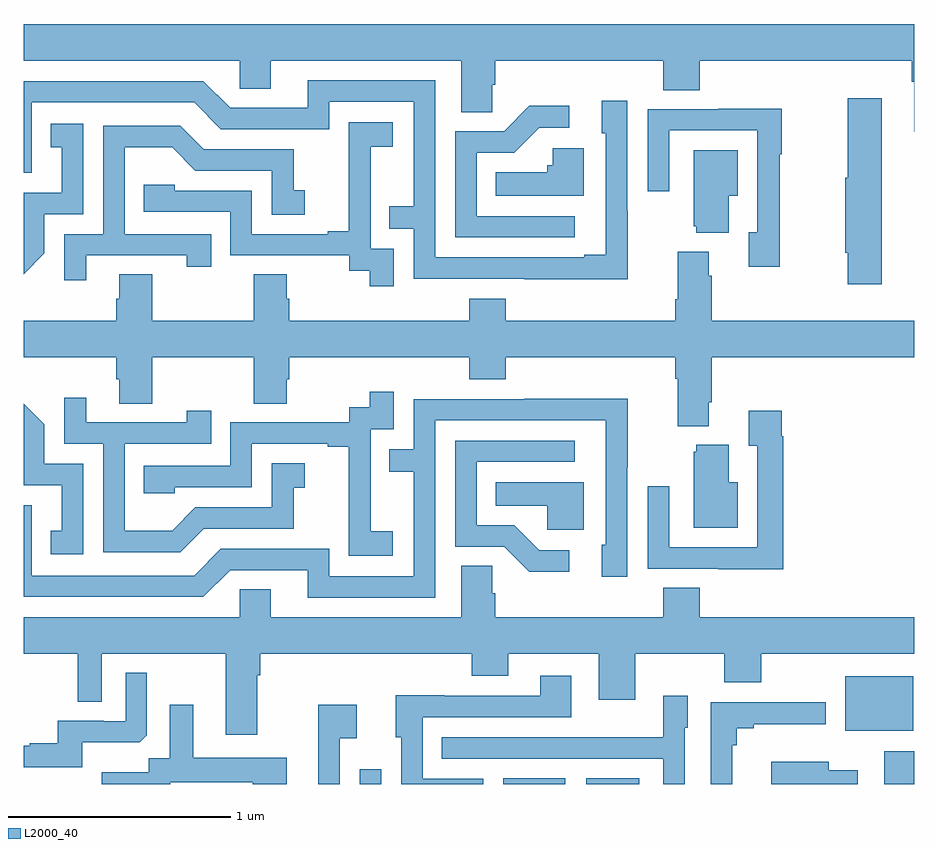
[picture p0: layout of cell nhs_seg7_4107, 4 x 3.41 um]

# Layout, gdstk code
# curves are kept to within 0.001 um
import gdstk
lib = gdstk.Library(unit=1e-6, precision=1e-09)
def R(c, l, rs):  # rectangles x0, y0, x1, y1
    for r in rs: c.add(gdstk.rectangle(r[:2], r[2:], *l))
def P(c, l, *ps):  # polygons
    for p in ps: c.add(gdstk.Polygon(p, *l))
L2000_40 = (2000, 40)

nhs_seg7_4107 = lib.new_cell('nhs_seg7_4107')
R(nhs_seg7_4107, L2000_40, [(372.51,1032,372.606,1032.067), (373.154,1032,373.432,1032.025), (373.526,1032,373.765,1032.025), (374.865,1032,375,1032.148), (374.69,1032.239,374.995,1032.484)])
P(nhs_seg7_4107, L2000_40, [(375,1035.412),(371,1035.412),(371,1035.248),(371.97,1035.248),(371.97,1035.121),(372.109,1035.121),(372.109,1035.248),(372.965,1035.248),(372.965,1035.016),(373.104,1035.016),(373.104,1035.139),(373.118,1035.139),(373.118,1035.248),(373.871,1035.248),(373.871,1035.115),(374.036,1035.115),(374.036,1035.248),(374.987,1035.248),(374.987,1035.152),(374.999,1035.152),(374.999,1034.928),(375,1034.928)],
  [(373.713,1034.573),(373.71,1034.573),(373.71,1035.067),(373.595,1035.067),(373.595,1034.922),(373.614,1034.922),(373.614,1034.377),(373.517,1034.377),(373.517,1034.364),(372.849,1034.364),(372.849,1035.159),(372.275,1035.159),(372.275,1035.036),(371.928,1035.036),(371.808,1035.156),(371,1035.156),(371,1034.745),(371.037,1034.745),(371.037,1035.06),(371.766,1035.06),(371.886,1034.94),(372.372,1034.94),(372.372,1035.063),(372.753,1035.063),(372.753,1034.594),(372.643,1034.594),(372.643,1034.493),(372.753,1034.493),(372.753,1034.268),(373.713,1034.267)],
  [(374.854,1035.079),(374.701,1035.079),(374.701,1034.721),(374.69,1034.721),(374.69,1034.385),(374.701,1034.385),(374.701,1034.244),(374.854,1034.244)],
  [(373.474,1034.55),(373.035,1034.55),(373.035,1034.835),(373.204,1034.835),(373.315,1034.946),(373.45,1034.946),(373.45,1035.044),(373.271,1035.044),(373.158,1034.931),(372.939,1034.931),(372.939,1034.454),(373.474,1034.454)],
  [(374.396,1034.827),(374.404,1034.827),(374.404,1035.032),(374.119,1035.032),(374.119,1035.03),(373.803,1035.03),(373.803,1034.661),(373.899,1034.661),(373.899,1034.934),(374.295,1034.934),(374.295,1034.478),(374.255,1034.478),(374.255,1034.322),(374.396,1034.322)],
  [(372.663,1034.403),(372.558,1034.403),(372.558,1034.632),(372.56,1034.632),(372.56,1034.861),(372.658,1034.861),(372.658,1034.971),(372.46,1034.971),(372.46,1034.765),(372.461,1034.765),(372.461,1034.482),(372.365,1034.482),(372.365,1034.469),(372.024,1034.469),(372.024,1034.664),(371.679,1034.664),(371.679,1034.691),(371.539,1034.691),(371.539,1034.568),(371.928,1034.568),(371.928,1034.373),(372.462,1034.373),(372.462,1034.305),(372.555,1034.305),(372.555,1034.235),(372.663,1034.235)],
  [(371.094,1034.382),(371.094,1034.559),(371.268,1034.559),(371.268,1034.965),(371.122,1034.965),(371.122,1034.859),(371.171,1034.859),(371.171,1034.655),(371,1034.655),(371,1034.289)],
  [(371.281,1034.373),(371.732,1034.373),(371.732,1034.322),(371.843,1034.322),(371.843,1034.469),(371.454,1034.469),(371.454,1034.858),(371.668,1034.858),(371.772,1034.754),(372.114,1034.754),(372.114,1034.555),(372.262,1034.555),(372.262,1034.665),(372.213,1034.665),(372.213,1034.85),(371.809,1034.85),(371.704,1034.955),(371.358,1034.955),(371.358,1034.469),(371.184,1034.469),(371.184,1034.262),(371.281,1034.262)],
  [(373.516,1034.854),(373.377,1034.854),(373.377,1034.778),(373.351,1034.778),(373.351,1034.746),(373.12,1034.746),(373.12,1034.642),(373.516,1034.642)],
  [(374.167,1034.642),(374.206,1034.642),(374.206,1034.845),(374.009,1034.845),(374.009,1034.505),(374.021,1034.505),(374.021,1034.474),(374.167,1034.474)],
  [(374.077,1033.714),(374.09,1033.714),(374.09,1033.916),(375,1033.916),(375,1034.08),(374.09,1034.08),(374.09,1034.282),(374.077,1034.282),(374.077,1034.389),(373.937,1034.389),(373.937,1034.176),(373.925,1034.176),(373.925,1034.08),(373.166,1034.08),(373.166,1034.179),(373.001,1034.179),(373.001,1034.08),(372.194,1034.08),(372.194,1034.178),(372.181,1034.178),(372.181,1034.288),(372.034,1034.288),(372.034,1034.08),(371.577,1034.08),(371.577,1034.288),(371.429,1034.288),(371.429,1034.178),(371.417,1034.178),(371.417,1034.08),(371,1034.08),(371,1033.916),(371.417,1033.916),(371.417,1033.818),(371.429,1033.818),(371.429,1033.708),(371.577,1033.708),(371.577,1033.916),(372.034,1033.916),(372.034,1033.708),(372.181,1033.708),(372.181,1033.818),(372.194,1033.818),(372.194,1033.916),(373.001,1033.916),(373.001,1033.817),(373.166,1033.817),(373.166,1033.916),(373.925,1033.916),(373.925,1033.82),(373.937,1033.82),(373.937,1033.607),(374.077,1033.607)],
  [(372.658,1033.135),(372.56,1033.135),(372.56,1033.364),(372.558,1033.364),(372.558,1033.593),(372.663,1033.593),(372.663,1033.762),(372.555,1033.762),(372.555,1033.692),(372.462,1033.692),(372.462,1033.623),(371.928,1033.623),(371.928,1033.428),(371.539,1033.428),(371.539,1033.305),(371.679,1033.305),(371.679,1033.332),(372.024,1033.332),(372.024,1033.527),(372.365,1033.527),(372.365,1033.515),(372.461,1033.515),(372.461,1033.231),(372.46,1033.231),(372.46,1033.025),(372.658,1033.025)],
  [(371.809,1033.146),(372.213,1033.146),(372.213,1033.331),(372.262,1033.331),(372.262,1033.441),(372.114,1033.441),(372.114,1033.242),(371.772,1033.242),(371.668,1033.138),(371.454,1033.138),(371.454,1033.527),(371.843,1033.527),(371.843,1033.675),(371.732,1033.675),(371.732,1033.623),(371.281,1033.623),(371.281,1033.735),(371.184,1033.735),(371.184,1033.527),(371.358,1033.527),(371.358,1033.041),(371.704,1033.041)],
  [(372.849,1033.632),(373.613,1033.632),(373.614,1033.074),(373.595,1033.074),(373.595,1032.93),(373.71,1032.93),(373.71,1033.423),(373.713,1033.423),(373.713,1033.73),(373.249,1033.73),(373.249,1033.728),(372.753,1033.728),(372.753,1033.503),(372.643,1033.503),(372.643,1033.402),(372.753,1033.402),(372.753,1032.933),(372.372,1032.933),(372.372,1033.056),(371.886,1033.056),(371.766,1032.936),(371.037,1032.936),(371.037,1033.251),(371,1033.251),(371,1032.84),(371.808,1032.84),(371.928,1032.96),(372.275,1032.96),(372.275,1032.837),(372.849,1032.837)],
  [(371.268,1033.437),(371.094,1033.437),(371.094,1033.614),(371,1033.708),(371,1033.341),(371.171,1033.341),(371.171,1033.137),(371.122,1033.137),(371.122,1033.032),(371.268,1033.032)],
  [(374.411,1033.562),(374.404,1033.562),(374.404,1033.675),(374.255,1033.675),(374.255,1033.519),(374.295,1033.519),(374.295,1033.062),(373.899,1033.062),(373.899,1033.336),(373.803,1033.336),(373.803,1032.966),(374.119,1032.966),(374.119,1032.965),(374.411,1032.965)],
  [(373.45,1033.05),(373.315,1033.05),(373.204,1033.161),(373.035,1033.161),(373.035,1033.446),(373.474,1033.446),(373.474,1033.542),(372.939,1033.542),(372.939,1033.065),(373.158,1033.065),(373.271,1032.953),(373.45,1032.953)],
  [(374.206,1033.354),(374.167,1033.354),(374.167,1033.522),(374.021,1033.522),(374.021,1033.491),(374.009,1033.491),(374.009,1033.151),(374.206,1033.151)],
  [(373.516,1033.354),(373.12,1033.354),(373.12,1033.25),(373.351,1033.25),(373.351,1033.142),(373.516,1033.142)],
  [(372.049,1032.488),(372.062,1032.488),(372.062,1032.584),(373.013,1032.584),(373.013,1032.485),(373.177,1032.485),(373.177,1032.584),(373.583,1032.584),(373.583,1032.378),(373.747,1032.378),(373.747,1032.584),(374.147,1032.584),(374.147,1032.456),(374.311,1032.456),(374.311,1032.584),(375,1032.584),(375,1032.748),(374.036,1032.748),(374.036,1032.881),(373.871,1032.881),(373.871,1032.748),(373.118,1032.748),(373.118,1032.857),(373.104,1032.857),(373.104,1032.98),(372.965,1032.98),(372.965,1032.748),(372.109,1032.748),(372.109,1032.875),(371.97,1032.875),(371.97,1032.748),(371,1032.748),(371,1032.584),(371.244,1032.584),(371.244,1032.37),(371.352,1032.37),(371.352,1032.584),(371.909,1032.584),(371.909,1032.222),(372.049,1032.222)],
  [(371.263,1032.188),(371.521,1032.188),(371.553,1032.219),(371.553,1032.499),(371.46,1032.499),(371.46,1032.282),(371.36,1032.282),(371.36,1032.285),(371.153,1032.285),(371.153,1032.184),(371.029,1032.184),(371.029,1032.172),(371,1032.172),(371,1032.075),(371.263,1032.075)],
  [(373.065,1032.024),(372.792,1032.024),(372.792,1032.3),(373.459,1032.3),(373.459,1032.487),(373.319,1032.487),(373.319,1032.396),(372.889,1032.396),(372.889,1032.398),(372.671,1032.398),(372.671,1032.21),(372.696,1032.21),(372.696,1032),(373.065,1032)],
  [(373.968,1032.252),(373.981,1032.252),(373.981,1032.397),(373.872,1032.397),(373.872,1032.211),(373.555,1032.211),(373.555,1032.21),(372.877,1032.21),(372.877,1032.114),(373.872,1032.114),(373.872,1032),(373.968,1032)],
  [(374.182,1032.173),(374.201,1032.173),(374.201,1032.25),(374.278,1032.25),(374.278,1032.269),(374.602,1032.269),(374.602,1032.366),(374.085,1032.366),(374.085,1032),(374.182,1032)],
  [(371.658,1032.008),(372.029,1032.008),(372.029,1032),(372.181,1032),(372.181,1032.118),(371.761,1032.118),(371.761,1032.355),(371.657,1032.355),(371.657,1032.116),(371.562,1032.116),(371.562,1032.052),(371.351,1032.052),(371.351,1032),(371.658,1032)],
  [(372.42,1032.206),(372.496,1032.206),(372.496,1032.355),(372.323,1032.355),(372.323,1032),(372.42,1032)],
  [(374.746,1032.061),(374.614,1032.061),(374.614,1032.1),(374.357,1032.1),(374.357,1032),(374.746,1032)])

lib.write_gds('nhs_seg7_4107.gds')
